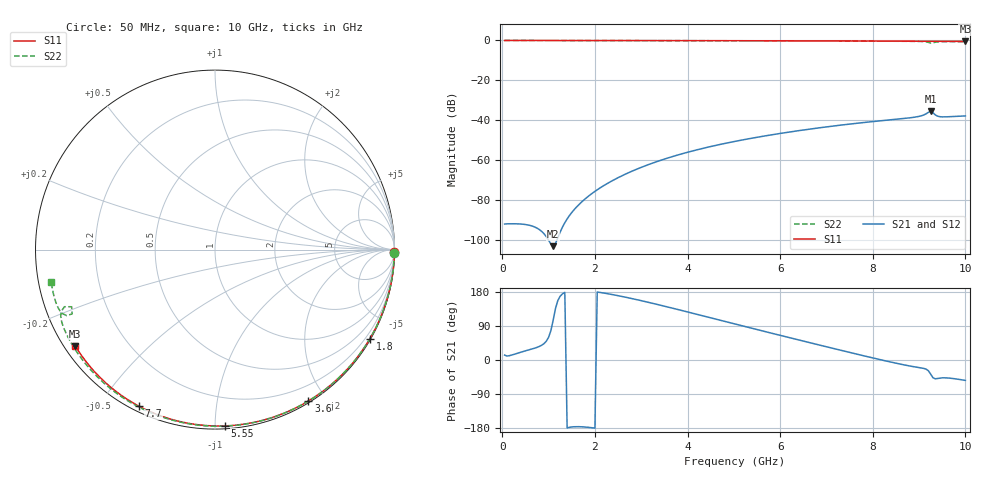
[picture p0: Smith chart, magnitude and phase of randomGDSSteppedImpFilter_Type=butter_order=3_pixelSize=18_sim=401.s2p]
! freq	dB(S11)	phase(S11)	dB(S12)	phase(S12)
!  dB(S21)	phase(S21)	dB(S22)	phase(S22)
!S-par simulation data
#  GHz  S  DB  R 50
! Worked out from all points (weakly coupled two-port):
!   200 points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, 50 MHz to 10 GHz, reference 50 ohm
!   highest |S21| = -35.48 dB at 9.25 GHz (marker M1); lowest = -102.9 dB at 1.1 GHz (marker M2)
!   lowest |S11| = -0.5 dB at 10 GHz (marker M3), VSWR 35.68, Z = 1.54 - j15.6 ohm
!   |S11| at or under -10 dB: nowhere
!   |S22| runs from -1.3 to 0.0 dB; largest |S21 - S12| = 0
!   S11 on the Smith chart (normalised r, x): 50 MHz: open; 1.8 GHz: 0.03, -3.74; 3.6 GHz: 0.02, -1.79; 5.55 GHz: 0.02, -1.06; 7.7 GHz: 0.02, -0.63; 10 GHz: 0.03, -0.31
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0.05  -0.00 -0.8  -91.85 13.0  -91.85 13.0  -0.00 -1.0
1.1  -0.02 -18.4  -102.93 105.9  -102.93 105.9  -0.03 -21.1
1.75  -0.04 -29.1  -80.05 -176.5  -80.05 -176.5  -0.04 -33.3
1.8  -0.04 -29.9  -79.05 -177.0  -79.05 -177.0  -0.04 -34.3
2.1  -0.04 -34.8  -73.94 178.5  -73.94 178.5  -0.05 -39.8
2.5  -0.05 -41.2  -68.66 169.8  -68.66 169.8  -0.06 -47.1
2.9  -0.06 -47.5  -64.43 159.4  -64.43 159.4  -0.07 -54.3
3.4  -0.07 -55.3  -60.12 145.1  -60.12 145.1  -0.08 -63.2
3.6  -0.08 -58.3  -58.62 139.1  -58.62 139.1  -0.09 -66.7
4.3  -0.10 -68.8  -54.17 117.6  -54.17 117.6  -0.11 -78.6
5.05  -0.12 -79.8  -50.38 94.2  -50.38 94.2  -0.14 -91.1
5.55  -0.14 -86.8  -48.24 78.8  -48.24 78.8  -0.16 -99.1
6.7  -0.20 -102.6  -44.16 43.9  -44.16 43.9  -0.23 -117.3
7.7  -0.27 -115.8  -41.32 14.1  -41.32 14.1  -0.31 -132.9
8.35  -0.32 -124.2  -39.78 -4.4  -39.78 -4.4  -0.37 -143.2
8.9  -0.37 -131.3  -38.40 -18.1  -38.40 -18.1  -0.45 -152.5
9.1  -0.39 -133.8  -37.29 -22.2  -37.29 -22.2  -0.58 -156.8
9.2  -0.40 -135.1  -35.98 -28.2  -35.98 -28.2  -0.94 -159.2
9.25  -0.40 -135.8  -35.48 -37.2  -35.48 -37.2  -1.31 -158.3
9.35  -0.41 -137.0  -37.25 -49.6  -37.25 -49.6  -0.87 -156.0
9.45  -0.42 -138.3  -38.15 -47.7  -38.15 -47.7  -0.65 -158.4
10  -0.49 -145.4  -37.76 -53.9  -37.76 -53.9  -0.63 -168.8
